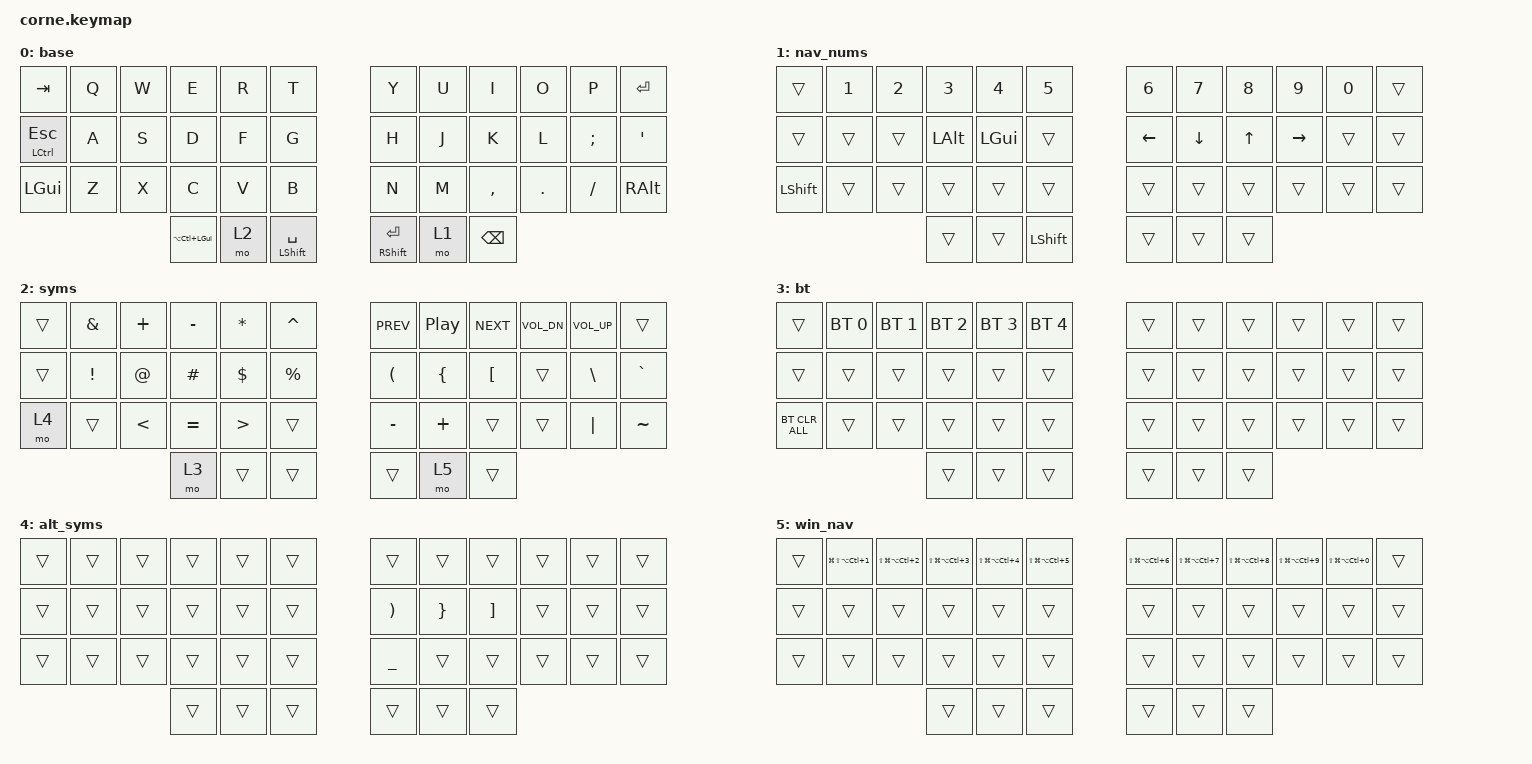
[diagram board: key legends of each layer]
/*
 * Copyright (c) 2020 The ZMK Contributors
 *
 * SPDX-License-Identifier: MIT
 */

#include <behaviors.dtsi>
#include <dt-bindings/zmk/bt.h>
#include <dt-bindings/zmk/keys.h>

/ {
    keymap {
        compatible = "zmk,keymap";

        default_layer {
            // -----------------------------------------------------------------------------------------
            // |  TAB |  Q  |  W  |  E  |  R  |  T  |   |  Y  |  U   |  I  |  O  |  P  | BKSP |
            // | CTRL |  A  |  S  |  D  |  F  |  G  |   |  H  |  J   |  K  |  L  |  ;  |  '   |
            // | SHFT |  Z  |  X  |  C  |  V  |  B  |   |  N  |  M   |  ,  |  .  |  /  | ESC  |
            //                    | GUI | LWR | SPC |   | ENT | RSE  | ALT |

            display-name = "base";
            bindings = <
&kp TAB           &kp Q  &kp W  &kp E             &kp R  &kp T                   &kp Y                   &kp U  &kp I          &kp O    &kp P     &kp RETURN
&mt LCTRL ESCAPE  &kp A  &kp S  &kp D             &kp F  &kp G                   &kp H                   &kp J  &kp K          &kp L    &kp SEMI  &kp SQT
&kp LEFT_GUI      &kp Z  &kp X  &kp C             &kp V  &kp B                   &kp N                   &kp M  &kp COMMA      &kp DOT  &kp FSLH  &kp RIGHT_ALT
                                &kp LA(LC(LGUI))  &mo 2  &mt LEFT_SHIFT SPACE    &mt RIGHT_SHIFT RETURN  &mo 1  &kp BACKSPACE
            >;
        };

        numbers_and_nav {
            // -----------------------------------------------------------------------------------------
            // |  TAB |  1  |  2  |  3  |  4  |  5  |   |  6  |  7  |  8  |  9  |  0  | BKSP |
            // | BTCLR| BT1 | BT2 | BT3 | BT4 | BT5 |   | LFT | DWN |  UP | RGT |     |      |
            // | SHFT |     |     |     |     |     |   |     |     |     |     |     |      |
            //                    | GUI |     | SPC |   | ENT |     | ALT |

            display-name = "nav_nums";
            bindings = <
&trans          &kp N1  &kp N2  &kp N3        &kp N4        &kp N5            &kp N6    &kp N7    &kp N8  &kp N9     &kp N0  &trans
&trans          &trans  &trans  &kp LEFT_ALT  &kp LEFT_GUI  &trans            &kp LEFT  &kp DOWN  &kp UP  &kp RIGHT  &trans  &trans
&kp LEFT_SHIFT  &trans  &trans  &trans        &trans        &trans            &trans    &trans    &trans  &trans     &trans  &trans
                                &trans        &trans        &kp LEFT_SHIFT    &trans    &trans    &trans
            >;
        };

        symbols {
            // -----------------------------------------------------------------------------------------
            // |  TAB |  !  |  @  |  #  |  $  |  %  |   |  ^  |  &  |  *  |  (  |  )  | BKSP |
            // | CTRL |     |     |     |     |     |   |  -  |  =  |  [  |  ]  |  \  |  `   |
            // | SHFT |     |     |     |     |     |   |  _  |  +  |  {  |  }  | "|" |  ~   |
            //                    | GUI |     | SPC |   | ENT |     | ALT |

            display-name = "syms";
            bindings = <
&trans  &kp AMPERSAND    &kp PLUS       &kp MINUS  &kp ASTERISK      &kp CARET      &kp C_PREV            &kp C_PLAY_PAUSE  &kp C_NEXT  &kp C_VOL_DN  &kp C_VOLUME_UP  &trans
&trans  &kp EXCLAMATION  &kp AT_SIGN    &kp HASH   &kp DOLLAR        &kp PERCENT    &kp LEFT_PARENTHESIS  &kp LEFT_BRACE    &kp LBKT    &trans        &kp BSLH         &kp GRAVE
&mo 4   &trans           &kp LESS_THAN  &kp EQUAL  &kp GREATER_THAN  &trans         &kp MINUS             &kp PLUS          &trans      &trans        &kp PIPE         &kp TILDE
                                        &mo 3      &trans            &trans         &trans                &mo 5             &trans
            >;
        };

        BT {
            bindings = <
&trans          &bt BT_SEL 0  &bt BT_SEL 1  &bt BT_SEL 2  &bt BT_SEL 3  &bt BT_SEL 4    &trans  &trans  &trans  &trans  &trans  &trans
&trans          &trans        &trans        &trans        &trans        &trans          &trans  &trans  &trans  &trans  &trans  &trans
&bt BT_CLR_ALL  &trans        &trans        &trans        &trans        &trans          &trans  &trans  &trans  &trans  &trans  &trans
                                            &trans        &trans        &trans          &trans  &trans  &trans
            >;

            label = "bt";
        };

        alt_symbols {
            bindings = <
&trans  &trans  &trans  &trans  &trans  &trans    &trans                 &trans           &trans             &trans  &trans  &trans
&trans  &trans  &trans  &trans  &trans  &trans    &kp RIGHT_PARENTHESIS  &kp RIGHT_BRACE  &kp RIGHT_BRACKET  &trans  &trans  &trans
&trans  &trans  &trans  &trans  &trans  &trans    &kp UNDER              &trans           &trans             &trans  &trans  &trans
                        &trans  &trans  &trans    &trans                 &trans           &trans
            >;

            label = "alt_syms";
        };

        i3_nav {
            bindings = <
&trans  &kp LG(LS(LA(LC(NUMBER_1))))  &kp LS(LG(LA(LC(N2))))  &kp LS(LG(LA(LC(NUMBER_3))))  &kp LS(LG(LA(LC(NUMBER_4))))  &kp LS(LG(LA(LC(N5))))    &kp LS(LG(LA(LC(NUMBER_6))))  &kp LS(LG(LA(LC(N7))))  &kp LS(LG(LA(LC(N8))))  &kp LS(LG(LA(LC(N9))))  &kp LS(LG(LA(LC(N0))))  &trans
&trans  &trans                        &trans                  &trans                        &trans                        &trans                    &trans                        &trans                  &trans                  &trans                  &trans                  &trans
&trans  &trans                        &trans                  &trans                        &trans                        &trans                    &trans                        &trans                  &trans                  &trans                  &trans                  &trans
                                                              &trans                        &trans                        &trans                    &trans                        &trans                  &trans
            >;

            label = "win_nav";
        };
    };
};
